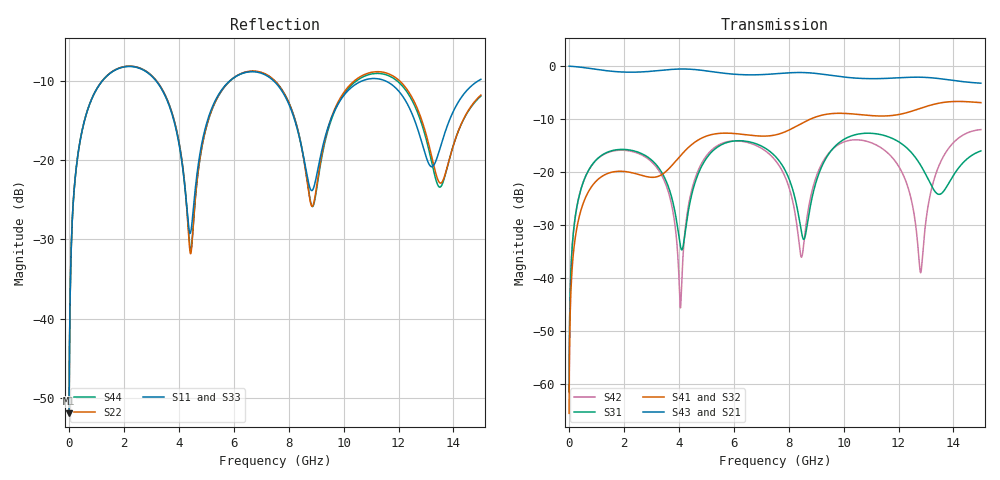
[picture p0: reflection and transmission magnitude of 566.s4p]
! Created with skrf 1.8.0 (http://scikit-rf.org).
# GHz S RI R 50.0
!freq ReS11 ImS11 ReS12 ImS12 ReS13 ImS13
! ReS14 ImS14
! ReS21 ImS21 ReS22 ImS22 ReS23 ImS23
! ReS24 ImS24
! ReS31 ImS31 ReS32 ImS32 ReS33 ImS33
! ReS34 ImS34
! ReS41 ImS41 ReS42 ImS42 ReS43 ImS43
! ReS44 ImS44
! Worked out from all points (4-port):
!   2499 points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, 5 MHz to 15 GHz, reference 50 ohm
!   strongest paths, dB at 5 MHz, 3.476 GHz, 7.19 GHz, 11.1 GHz, 15 GHz:
!     S43: 0.0, -0.7, -1.6, -2.4, -3.2
!     S21: 0.0, -0.7, -1.6, -2.4, -3.2
!     S41: -65.6, -20.1, -13.2, -9.4, -6.9
!     S32: -65.6, -20.2, -13.3, -9.4, -7.0
!     S31: -61.5, -21.0, -15.6, -12.7, -16.0
!     S42: -61.5, -21.7, -16.2, -14.7, -12.0
!   lowest |S11| = -51.9 dB at 5 MHz (marker M1), VSWR 1.01, Z = 50.2 + j0.154 ohm
!   |S11| at or under -10 dB: 3.168 GHz to 5.857 GHz (2.689 GHz wide, 59.6 % of centre); 7.451 GHz to 10.68 GHz (3.232 GHz wide, 35.6 % of centre); 11.52 GHz to 14.9 GHz (3.389 GHz wide, 25.7 % of centre) (the widest 3 of 4)
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0.005  0.00202 0.00153  0.9979 -0.00393  0.000104 0.000832  -0.000101 -0.000517
       0.9979 -0.00393  0.00202 0.00153  -0.000101 -0.000517  0.000104 0.000832
       0.000104 0.000832  -0.000101 -0.000517  0.00202 0.00153  0.9979 -0.00393
       -0.000101 -0.000517  0.000104 0.000832  0.9979 -0.00393  0.00202 0.00153
1.3193  0.2839 0.1704  0.5155 -0.7466  0.1396 0.056  -0.0946 -0.000313
        0.5155 -0.7466  0.2855 0.1692  -0.0945 -0.000435  0.1353 0.0623
        0.1396 0.056  -0.0945 -0.000435  0.284 0.1704  0.5155 -0.7466
        -0.0946 -0.000313  0.1353 0.0623  0.5155 -0.7466  0.2855 0.1693
4.057941  0.0584 -0.0958  -0.8813 -0.3221  -0.0175 -0.0097  -0.0436 0.1357
          -0.8813 -0.3221  0.0511 -0.1026  -0.0452 0.1351  0.00519 0.000549
          -0.0175 -0.0097  -0.0452 0.1351  0.0579 -0.0969  -0.8811 -0.3223
          -0.0436 0.1357  0.00519 0.000549  -0.8811 -0.3223  0.0522 -0.1031
5.277199  0.1667 0.1552  -0.7522 0.4568  0.1283 0.0986  0.1538 0.1682
          -0.7522 0.4568  0.1588 0.1575  0.1517 0.1698  0.1377 0.0964
          0.1283 0.0986  0.1517 0.1698  0.1656 0.1552  -0.7525 0.4568
          0.1538 0.1682  0.1377 0.0964  -0.7525 0.4568  0.1588 0.1557
8.909962  0.0657 0.013  0.8485 0.1174  0.00825 0.0659  0.0303 -0.3237
          0.8485 0.1174  0.0522 0.0109  0.0373 -0.3229  0.0098 0.0749
          0.00825 0.0659  0.0373 -0.3229  0.0664 0.011  0.8485 0.1174
          0.0303 -0.3237  0.0098 0.0749  0.8485 0.1174  0.0517 0.00761
12.80534  0.1188 -0.0684  -0.6185 -0.4809  -0.0775 -0.0862  -0.2284 0.3279
          -0.6185 -0.4809  0.1298 -0.135  -0.2395 0.3189  0.0112 -0.000433
          -0.0775 -0.0862  -0.2395 0.3189  0.1107 -0.0631  -0.6234 -0.477
          -0.2284 0.3279  0.0112 -0.000433  -0.6234 -0.477  0.1226 -0.1282
15  0.3086 0.0963  -0.4522 0.5211  0.1531 -0.0401  0.3856 0.2351
    -0.4522 0.5211  0.2389 0.0954  0.3737 0.2493  0.2367 -0.0846
    0.1531 -0.0401  0.3737 0.2493  0.3143 0.0939  -0.4482 0.5238
    0.3856 0.2351  0.2367 -0.0846  -0.4482 0.5238  0.2332 0.0987
